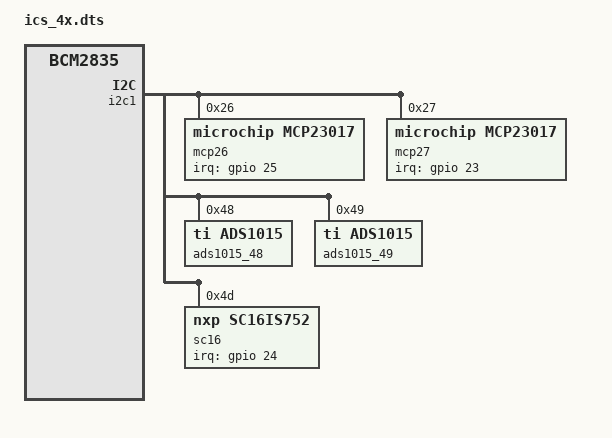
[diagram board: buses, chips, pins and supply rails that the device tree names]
/dts-v1/;
/plugin/;

/ {
    compatible = "brcm,bcm2711", "brcm,bcm2835";

    /* Fixed clock for SC16IS752 */
    fragment@0 {
        target-path = "/";

        __overlay__ {
            sc16_clk: sc16_clk {
                compatible = "fixed-clock";
                #clock-cells = <0>;
                clock-frequency = <3686400>;
            };
        };
    };

    /* I2C devices */
    fragment@1 {
        target = <&i2c1>;

        __overlay__ {
            status = "okay";

            #address-cells = <1>;
            #size-cells = <0>;

            /* MCP23017 @ 0x26 — expansion */
            mcp26: gpio@26 {
                compatible = "microchip,mcp23017";
                reg = <0x26>;
                gpio-controller;
                #gpio-cells = <2>;
                #address-cells = <0>;

                interrupt-parent = <&gpio>;
                interrupts = <25 8>;

                interrupt-controller;
                #interrupt-cells = <2>;
                microchip,irq-mirror;

                gpio-line-names =
                    "EXP_1",  "EXP_2",  "EXP_3",  "EXP_4",
                    "EXP_5",  "EXP_6",  "EXP_7",  "EXP_8",
                    "REL_1",  "REL_2",  "EXP_10", "PCM_PDWN",
                    "EXP_12", "EXP_13", "EXP_14", "EXP_15";
            };

            /* MCP23017 @ 0x27 — core RX/TX ports 1-4 */
            mcp27: gpio@27 {
                compatible = "microchip,mcp23017";
                reg = <0x27>;
                gpio-controller;
                #gpio-cells = <2>;
                #address-cells = <0>;

                interrupt-parent = <&gpio>;
                interrupts = <23 8>;

                interrupt-controller;
                #interrupt-cells = <2>;
                microchip,irq-mirror;

                gpio-line-names =
                    "EN_1", "EN_2", "TX_1", "TX_2",
                    "CT_1", "CT_2", "RX_1", "RX_2",
                    "EN_3", "EN_4", "TX_3", "TX_4",
                    "CT_3", "CT_4", "RX_3", "RX_4";

            };
                        /* ADS1015 ADC @ 0x48 */
            ads1015_48: adc@48 {
                compatible = "ti,ads1015";
                reg = <0x48>;
                #address-cells = <1>;
                #size-cells = <0>;

                channel@0 {
                    reg = <0>;
                    ti,gain = <2>;
                    ti,datarate = <4>;
                };

                channel@1 {
                    reg = <1>;
                    ti,gain = <2>;
                    ti,datarate = <4>;
                };

                channel@2 {
                    reg = <2>;
                    ti,gain = <2>;
                    ti,datarate = <4>;
                };

                channel@3 {
                    reg = <3>;
                    ti,gain = <2>;
                    ti,datarate = <4>;
                };
            };

            /* ADS1015 ADC @ 0x49 */
            ads1015_49: adc@49 {
                compatible = "ti,ads1015";
                reg = <0x49>;
                #address-cells = <1>;
                #size-cells = <0>;

                channel@0 {
                    reg = <0>;
                    ti,gain = <2>;
                    ti,datarate = <4>;
                };

                channel@1 {
                    reg = <1>;
                    ti,gain = <2>;
                    ti,datarate = <4>;
                };

                channel@2 {
                    reg = <2>;
                    ti,gain = <2>;
                    ti,datarate = <4>;
                };

                channel@3 {
                    reg = <3>;
                    ti,gain = <2>;
                    ti,datarate = <4>;
                };
            };
            /* SC16IS752 UART / GPS */
            sc16: serial@4d {
                compatible = "nxp,sc16is752";
                reg = <0x4d>;

                clocks = <&sc16_clk>;

                interrupt-parent = <&gpio>;
                interrupts = <24 2>;
            };
        };
    };
};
